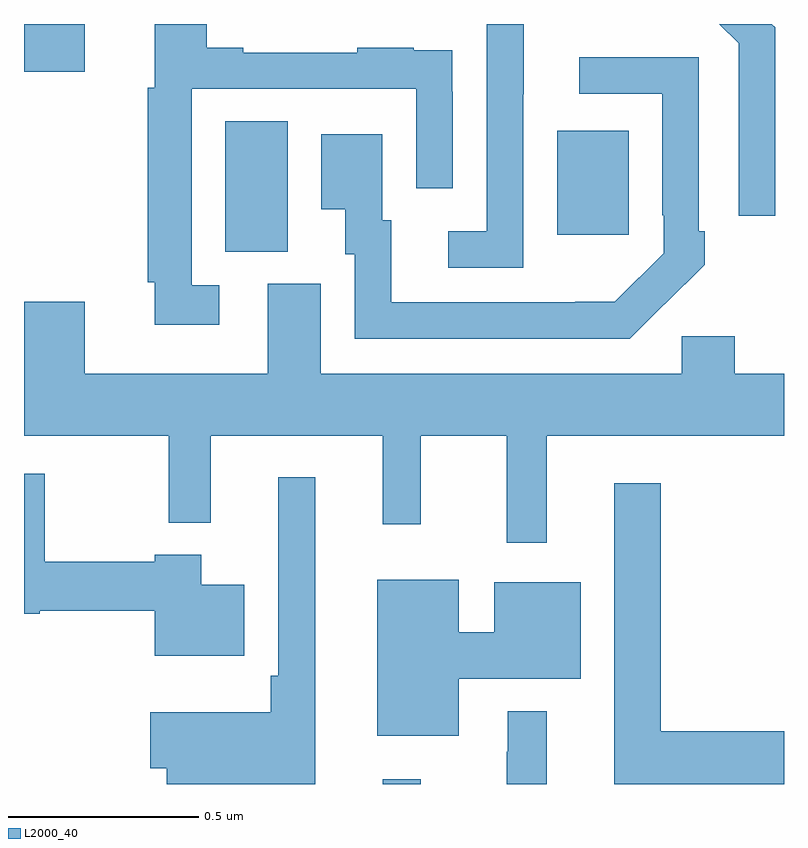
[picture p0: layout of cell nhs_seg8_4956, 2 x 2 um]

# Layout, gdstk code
import gdstk
lib = gdstk.Library(unit=1e-6, precision=1e-09)
def R(c, l, rs):  # rectangles x0, y0, x1, y1
    for r in rs: c.add(gdstk.rectangle(r[:2], r[2:], *l))
def P(c, l, *ps):  # polygons
    for p in ps: c.add(gdstk.Polygon(p, *l))
L2000_40 = (2000, 40)

nhs_seg8_4956 = lib.new_cell('nhs_seg8_4956')
R(nhs_seg8_4956, L2000_40, [(177.944,1132.9,178.044,1132.912), (177.53,1134.301,177.694,1134.644), (178.403,1134.345,178.591,1134.619), (177,1134.774,177.16,1134.9)])
P(nhs_seg8_4956, L2000_40, [(178.977,1134.891),(178.968,1134.9),(178.83,1134.9),(178.881,1134.849),(178.881,1134.396),(178.977,1134.396)],
  [(178.314,1134.715),(178.315,1134.715),(178.315,1134.9),(178.218,1134.9),(178.218,1134.354),(178.116,1134.354),(178.116,1134.258),(178.314,1134.258)],
  [(177.514,1134.213),(177.441,1134.213),(177.441,1134.729),(178.032,1134.729),(178.032,1134.468),(178.128,1134.468),(178.128,1134.722),(178.127,1134.722),(178.127,1134.831),(178.025,1134.831),(178.025,1134.838),(177.877,1134.838),(177.877,1134.825),(177.577,1134.825),(177.577,1134.838),(177.481,1134.838),(177.481,1134.9),(177.344,1134.9),(177.344,1134.732),(177.325,1134.732),(177.325,1134.22),(177.344,1134.22),(177.344,1134.108),(177.514,1134.108)],
  [(178.685,1134.163),(178.686,1134.162),(178.791,1134.267),(178.791,1134.355),(178.776,1134.355),(178.776,1134.813),(178.461,1134.813),(178.461,1134.717),(178.68,1134.717),(178.68,1134.397),(178.683,1134.397),(178.683,1134.297),(178.555,1134.169),(178.451,1134.169),(178.451,1134.168),(177.967,1134.168),(177.967,1134.384),(177.943,1134.384),(177.943,1134.61),(177.782,1134.61),(177.782,1134.413),(177.845,1134.413),(177.845,1134.294),(177.87,1134.294),(177.87,1134.072),(178.594,1134.072)],
  [(178.375,1133.816),(179,1133.816),(179,1133.98),(178.87,1133.98),(178.87,1134.078),(178.731,1134.078),(178.731,1133.98),(177.781,1133.98),(177.781,1134.216),(177.641,1134.216),(177.641,1133.98),(177.16,1133.98),(177.16,1134.169),(177,1134.169),(177,1133.816),(177.381,1133.816),(177.381,1133.588),(177.491,1133.588),(177.491,1133.816),(177.944,1133.816),(177.944,1133.583),(178.044,1133.583),(178.044,1133.816),(178.271,1133.816),(178.271,1133.535),(178.375,1133.535)],
  [(177.58,1133.425),(177.466,1133.425),(177.466,1133.503),(177.344,1133.503),(177.344,1133.485),(177.054,1133.485),(177.054,1133.716),(177,1133.716),(177,1133.348),(177.042,1133.348),(177.042,1133.356),(177.344,1133.356),(177.344,1133.237),(177.58,1133.237)],
  [(177.766,1133.707),(177.669,1133.707),(177.669,1133.185),(177.649,1133.185),(177.649,1133.089),(177.332,1133.089),(177.332,1132.942),(177.376,1132.942),(177.376,1132.9),(177.766,1132.9)],
  [(179,1133.039),(178.675,1133.039),(178.675,1133.692),(178.553,1133.692),(178.553,1132.9),(179,1132.9)],
  [(178.144,1133.177),(178.465,1133.177),(178.465,1133.431),(178.238,1133.431),(178.238,1133.3),(178.144,1133.3),(178.144,1133.437),(177.929,1133.437),(177.929,1133.027),(178.144,1133.027)],
  [(178.375,1133.092),(178.273,1133.092),(178.273,1132.985),(178.271,1132.985),(178.271,1132.9),(178.375,1132.9)])

lib.write_gds('nhs_seg8_4956.gds')
